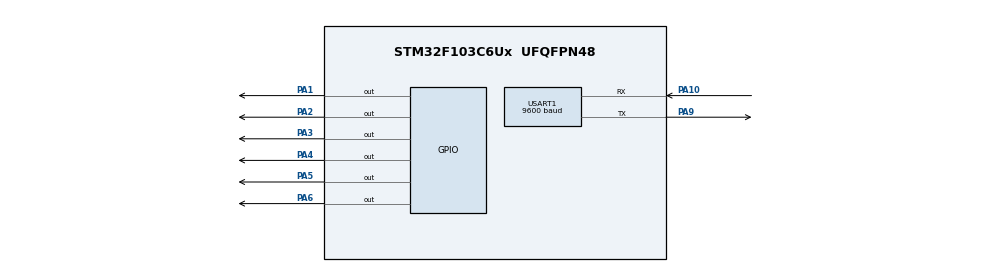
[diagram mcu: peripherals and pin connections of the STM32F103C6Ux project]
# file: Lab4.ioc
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Mcu.Family=STM32F1
Mcu.Name=STM32F103C6Ux
Mcu.Package=UFQFPN48
NVIC.PriorityGroup=NVIC_PRIORITYGROUP_4
NVIC.TIM2_IRQn=true\:0\:0\:false\:false\:true\:true\:true
PA1.Signal=GPIO_Output
PA10.Mode=Asynchronous
PA10.Signal=USART1_RX
PA2.Signal=GPIO_Output
PA3.Signal=GPIO_Output
PA4.Signal=GPIO_Output
PA5.Signal=GPIO_Output
PA6.Signal=GPIO_Output
PA9.Mode=Asynchronous
PA9.Signal=USART1_TX
ProjectManager.HeapSize=0x200
ProjectManager.StackSize=0x400
ProjectManager.TargetToolchain=STM32CubeIDE
RCC.APB1Freq_Value=8000000
RCC.APB2Freq_Value=8000000
TIM2.Period=9
TIM2.Prescaler=7999
USART1.BaudRate=9600
USART1.VirtualMode=VM_ASYNC
VP_SYS_VS_ND.Mode=No_Debug
VP_TIM2_VS_ClockSourceINT.Mode=Internal
board=custom

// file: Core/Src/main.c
/* USER CODE BEGIN Header */
/**
  ******************************************************************************
  * @file           : main.c
  * @brief          : Main program body (Lab 4 - O(1) Cooperative Scheduler)
  ******************************************************************************
  * @attention
  *
  * <h2><center>&copy; Copyright (c) 2026 STMicroelectronics.
  * All rights reserved.</center></h2>
  *
  * This software component is licensed by ST under BSD 3-Clause license,
  * the "License"; You may not use this file except in compliance with the
  * License. You may obtain a copy of the License at:
  *                        opensource.org/licenses/BSD-3-Clause
  *
  ******************************************************************************
  */
/* USER CODE END Header */
#include "main.h"

/* USER CODE BEGIN Includes */
#include "scheduler.h"
/* USER CODE END Includes */

/* USER CODE BEGIN PD */
#define UART_TX_BUF_SIZE  1024U
/* USER CODE END PD */

TIM_HandleTypeDef htim2;

UART_HandleTypeDef huart1;

/* USER CODE BEGIN PV */
static uint8_t           s_uart_tx_buf[UART_TX_BUF_SIZE];
static volatile uint16_t s_uart_tx_head = 0U;
static volatile uint16_t s_uart_tx_tail = 0U;

static uint32_t g_d6_blink_task_id = NO_TASK_ID;
/* USER CODE END PV */

void SystemClock_Config(void);
static void MX_GPIO_Init(void);
static void MX_TIM2_Init(void);
static void MX_USART1_UART_Init(void);
/* USER CODE BEGIN PFP */
static void    UART_Log_PutChar(char c);
static void    UART_Log_Str(const char *s);
static void    UART_Log_UInt(uint32_t val, uint8_t min_width);
static void    UART_Log_Event(const char *msg);
static void    UART_Log_Pump(void);
static uint8_t UART_Log_IsBusy(void);

void Task_Blink_0_5s(void);
void Task_Blink_1_0s(void);
void Task_Blink_1_5s(void);
void Task_Blink_2_0s(void);
void Task_Blink_2_5s(void);
void Task_D6_FastBlink(void);
void Task_OneShot_700ms(void);
void Task_OneShot_1700ms(void);
void Task_OneShot_3100ms_DeleteD6(void);
/* USER CODE END PFP */

/* USER CODE BEGIN 0 */
static void UART_Log_PutChar(char c)
{
  uint16_t next_head = (uint16_t)((s_uart_tx_head + 1U) % UART_TX_BUF_SIZE);
  if (next_head != s_uart_tx_tail)
  {
    s_uart_tx_buf[s_uart_tx_head] = (uint8_t)c;
    s_uart_tx_head = next_head;
  }
}

static void UART_Log_Str(const char *s)
{
  while ((s != 0) && (*s != '\0'))
  {
    UART_Log_PutChar(*s++);
  }
}

static void UART_Log_UInt(uint32_t val, uint8_t min_width)
{
  char digits[10];
  uint8_t count = 0U;

  do
  {
    digits[count++] = (char)('0' + (val % 10U));
    val /= 10U;
  } while (val > 0U);

  while (count < min_width)
  {
    UART_Log_PutChar(' ');
    min_width--;
  }

  while (count > 0U)
  {
    UART_Log_PutChar(digits[--count]);
  }
}

static void UART_Log_Event(const char *msg)
{
  UART_Log_PutChar('[');
  UART_Log_UInt(get_time(), 5U);
  UART_Log_Str(" ms] ");
  UART_Log_Str(msg);
  UART_Log_Str("\r\n");
}

static void UART_Log_Pump(void)
{
  while ((s_uart_tx_tail != s_uart_tx_head) &&
         (__HAL_UART_GET_FLAG(&huart1, UART_FLAG_TXE) != RESET))
  {
    huart1.Instance->DR = s_uart_tx_buf[s_uart_tx_tail];
    s_uart_tx_tail = (uint16_t)((s_uart_tx_tail + 1U) % UART_TX_BUF_SIZE);
  }
}

static uint8_t UART_Log_IsBusy(void)
{
  if (s_uart_tx_tail != s_uart_tx_head)
  {
    return 1U;
  }
  if (__HAL_UART_GET_FLAG(&huart1, UART_FLAG_TC) == RESET)
  {
    return 1U;
  }
  return 0U;
}

/* -------- 5 Periodic Tasks: 0.5s, 1.0s, 1.5s, 2.0s, 2.5s (Section 4) -------- */

void Task_Blink_0_5s(void)
{
  HAL_GPIO_TogglePin(GPIOA, GPIO_PIN_1);
  UART_Log_Event("Periodic 0.5s -> Toggle D1 (PA1)");
}

void Task_Blink_1_0s(void)
{
  HAL_GPIO_TogglePin(GPIOA, GPIO_PIN_2);
  UART_Log_Event("Periodic 1.0s -> Toggle D2 (PA2)");
}

void Task_Blink_1_5s(void)
{
  HAL_GPIO_TogglePin(GPIOA, GPIO_PIN_3);
  UART_Log_Event("Periodic 1.5s -> Toggle D3 (PA3)");
}

void Task_Blink_2_0s(void)
{
  HAL_GPIO_TogglePin(GPIOA, GPIO_PIN_4);
  UART_Log_Event("Periodic 2.0s -> Toggle D4 (PA4)");
}

void Task_Blink_2_5s(void)
{
  HAL_GPIO_TogglePin(GPIOA, GPIO_PIN_5);
  UART_Log_Event("Periodic 2.5s -> Toggle D5 (PA5)");
}

/* -------- One-Shot & SCH_Delete_Task Demonstration (Section 5) -------- */

void Task_D6_FastBlink(void)
{
  HAL_GPIO_TogglePin(GPIOA, GPIO_PIN_6);
}

void Task_OneShot_700ms(void)
{
  UART_Log_Event("[ONE-SHOT #1] 700ms delay expired!");
}

void Task_OneShot_1700ms(void)
{
  UART_Log_Event("[ONE-SHOT #2] 1700ms delay expired!");
}

void Task_OneShot_3100ms_DeleteD6(void)
{
  if (SCH_Delete_Task(g_d6_blink_task_id) == RETURN_NORMAL)
  {
    HAL_GPIO_WritePin(GPIOA, GPIO_PIN_6, GPIO_PIN_SET); /* Turn D6 OFF (Active-LOW) */
    UART_Log_Event("[ONE-SHOT #3] 3100ms -> SCH_Delete_Task(D6) OK!");
  }
}
/* USER CODE END 0 */

int main(void)
{

  /* MCU Configuration--------------------------------------------------------*/

  /* Reset of all peripherals, Initializes the Flash interface and the Systick. */
  HAL_Init();

  /* Configure the system clock */
  SystemClock_Config();

  /* Initialize all configured peripherals */
  MX_GPIO_Init();
  MX_TIM2_Init();
  MX_USART1_UART_Init();
  /* USER CODE BEGIN 2 */
  /* Turn OFF all Active-LOW LEDs D1..D6 (PA1..PA6 = HIGH) at startup */
  HAL_GPIO_WritePin(GPIOA, GPIO_PIN_1|GPIO_PIN_2|GPIO_PIN_3|GPIO_PIN_4
                          |GPIO_PIN_5|GPIO_PIN_6, GPIO_PIN_SET);

  /* Initialize O(1) Delta-List Cooperative Scheduler */
  SCH_Init();
  SCH_Set_Sleep_Guard(UART_Log_IsBusy);

  UART_Log_Str("=== HCMUT Lab 4: O(1) Cooperative Scheduler ===\r\n");
  UART_Log_Event("Scheduler initialized (Tick = 10ms)");

  /* 5 Required Periodic Tasks: 0.5s, 1.0s, 1.5s, 2.0s, 2.5s */
  SCH_Add_Task(Task_Blink_0_5s,  500U,  500U);
  SCH_Add_Task(Task_Blink_1_0s, 1000U, 1000U);
  SCH_Add_Task(Task_Blink_1_5s, 1500U, 1500U);
  SCH_Add_Task(Task_Blink_2_0s, 2000U, 2000U);
  SCH_Add_Task(Task_Blink_2_5s, 2500U, 2500U);

  /* Fast-blink D6 (200ms) to visually demonstrate SCH_Delete_Task(taskID) */
  g_d6_blink_task_id = SCH_Add_Task(Task_D6_FastBlink, 200U, 200U);

  /*
   * Out-of-order One-Shot tasks (PERIOD = 0) registered before main loop:
   * Added as 3100ms -> 700ms -> 1700ms, delivered in order 700ms -> 1700ms -> 3100ms!
   */
  SCH_Add_Task(Task_OneShot_3100ms_DeleteD6, 3100U, 0U);
  SCH_Add_Task(Task_OneShot_700ms,            700U, 0U);
  SCH_Add_Task(Task_OneShot_1700ms,          1700U, 0U);

  /* Start 10ms hardware timer interrupt */
  HAL_TIM_Base_Start_IT(&htim2);
  /* USER CODE END 2 */

  /* Infinite loop */
  /* USER CODE BEGIN WHILE */
  while (1)
  {
    SCH_Dispatch_Tasks();
    UART_Log_Pump();
    /* USER CODE END WHILE */

  }
}

void SystemClock_Config(void)
{
  RCC_OscInitTypeDef RCC_OscInitStruct = {0};
  RCC_ClkInitTypeDef RCC_ClkInitStruct = {0};

  /** Initializes the RCC Oscillators according to the specified parameters
  * in the RCC_OscInitTypeDef structure.
  */
  RCC_OscInitStruct.OscillatorType = RCC_OSCILLATORTYPE_HSI;
  RCC_OscInitStruct.HSIState = RCC_HSI_ON;
  RCC_OscInitStruct.HSICalibrationValue = RCC_HSICALIBRATION_DEFAULT;
  RCC_OscInitStruct.PLL.PLLState = RCC_PLL_NONE;
  if (HAL_RCC_OscConfig(&RCC_OscInitStruct) != HAL_OK)
  {
    Error_Handler();
  }
  /** Initializes the CPU, AHB and APB buses clocks
  */
  RCC_ClkInitStruct.ClockType = RCC_CLOCKTYPE_HCLK|RCC_CLOCKTYPE_SYSCLK
                              |RCC_CLOCKTYPE_PCLK1|RCC_CLOCKTYPE_PCLK2;
  RCC_ClkInitStruct.SYSCLKSource = RCC_SYSCLKSOURCE_HSI;
  RCC_ClkInitStruct.AHBCLKDivider = RCC_SYSCLK_DIV1;
  RCC_ClkInitStruct.APB1CLKDivider = RCC_HCLK_DIV1;
  RCC_ClkInitStruct.APB2CLKDivider = RCC_HCLK_DIV1;

  if (HAL_RCC_ClockConfig(&RCC_ClkInitStruct, FLASH_LATENCY_0) != HAL_OK)
  {
    Error_Handler();
  }
}

static void MX_TIM2_Init(void)
{

  TIM_ClockConfigTypeDef sClockSourceConfig = {0};
  TIM_MasterConfigTypeDef sMasterConfig = {0};

  htim2.Instance = TIM2;
  htim2.Init.Prescaler = 7999;
  htim2.Init.CounterMode = TIM_COUNTERMODE_UP;
  htim2.Init.Period = 9;
  htim2.Init.ClockDivision = TIM_CLOCKDIVISION_DIV1;
  htim2.Init.AutoReloadPreload = TIM_AUTORELOAD_PRELOAD_DISABLE;
  if (HAL_TIM_Base_Init(&htim2) != HAL_OK)
  {
    Error_Handler();
  }
  sClockSourceConfig.ClockSource = TIM_CLOCKSOURCE_INTERNAL;
  if (HAL_TIM_ConfigClockSource(&htim2, &sClockSourceConfig) != HAL_OK)
  {
    Error_Handler();
  }
  sMasterConfig.MasterOutputTrigger = TIM_TRGO_RESET;
  sMasterConfig.MasterSlaveMode = TIM_MASTERSLAVEMODE_DISABLE;
  if (HAL_TIMEx_MasterConfigSynchronization(&htim2, &sMasterConfig) != HAL_OK)
  {
    Error_Handler();
  }

}

static void MX_USART1_UART_Init(void)
{

  huart1.Instance = USART1;
  huart1.Init.BaudRate = 9600;
  huart1.Init.WordLength = UART_WORDLENGTH_8B;
  huart1.Init.StopBits = UART_STOPBITS_1;
  huart1.Init.Parity = UART_PARITY_NONE;
  huart1.Init.Mode = UART_MODE_TX_RX;
  huart1.Init.HwFlowCtl = UART_HWCONTROL_NONE;
  huart1.Init.OverSampling = UART_OVERSAMPLING_16;
  if (HAL_UART_Init(&huart1) != HAL_OK)
  {
    Error_Handler();
  }

}

static void MX_GPIO_Init(void)
{
  GPIO_InitTypeDef GPIO_InitStruct = {0};

  /* GPIO Ports Clock Enable */
  __HAL_RCC_GPIOA_CLK_ENABLE();

  /*Configure GPIO pin Output Level */
  HAL_GPIO_WritePin(GPIOA, GPIO_PIN_1|GPIO_PIN_2|GPIO_PIN_3|GPIO_PIN_4
                          |GPIO_PIN_5|GPIO_PIN_6, GPIO_PIN_RESET);

  /*Configure GPIO pins : PA1 PA2 PA3 PA4
                           PA5 PA6 */
  GPIO_InitStruct.Pin = GPIO_PIN_1|GPIO_PIN_2|GPIO_PIN_3|GPIO_PIN_4
                          |GPIO_PIN_5|GPIO_PIN_6;
  GPIO_InitStruct.Mode = GPIO_MODE_OUTPUT_PP;
  GPIO_InitStruct.Pull = GPIO_NOPULL;
  GPIO_InitStruct.Speed = GPIO_SPEED_FREQ_LOW;
  HAL_GPIO_Init(GPIOA, &GPIO_InitStruct);

}

/* USER CODE BEGIN 4 */
void HAL_TIM_PeriodElapsedCallback(TIM_HandleTypeDef *htim)
{
  if (htim->Instance == TIM2)
  {
    SCH_Update();
  }
}
/* USER CODE END 4 */

void Error_Handler(void)
{
  __disable_irq();
  while (1)
  {
  }
}

/************************ (C) COPYRIGHT STMicroelectronics *****END OF FILE****/
